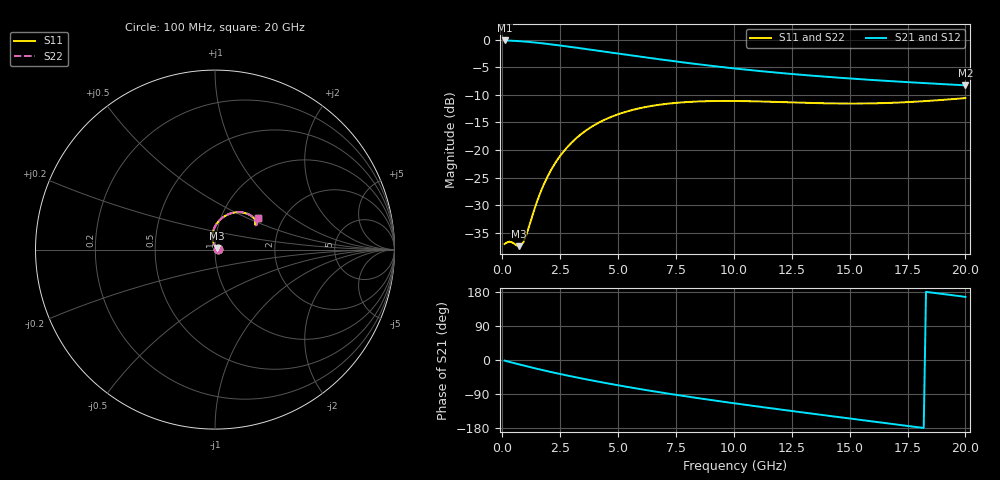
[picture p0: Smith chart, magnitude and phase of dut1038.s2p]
! Touchstone file exported from HFSS 2024.1.0
!  File:  C:/UserFiles/LocalFiles/RDL_TSV_Batchsim/temp_RDL_TSV_1038_1780085191.aedt
!  Generated:  04:18:42 AM May 30, 2026
!  Design:  RDL_TSV
!  Project:  temp_RDL_TSV_1038_1780085191
!  Setup:  Setup1
!  Solution:  Sweep
! Variables:
!  dtsv = 9.65um
!  hbump = 3um
!  htsv = 63.98um
!  ldown = 371.63um
!  lrdl = 439.86um
!  p = 40
!  p1 = 45.14um
!  rhole = 10um
!  subl = 2874.33um
!  t = 450um
!  tdown = 2.54um
!  trdl = 4.64um
!  viad = 10um
!  wdown = 27.99um
!  wrdl = 17.49um
!  xbump = 18um
# GHz S MA R 50.000000
! Terminal data exported
! Port[1] = TM1_1_T1
! Port[2] = TM1_4_T1
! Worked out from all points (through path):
!   200 points, 100 MHz to 20 GHz, reference 50 ohm
!   highest |S21| = -0.13 dB at 100 MHz (marker M1); lowest = -8.3 dB at 20 GHz (marker M2)
!   group delay of S21, straight-line fit = 25.5 ps
!   lowest |S11| = -37.4 dB at 700 MHz (marker M3), VSWR 1.03, Z = 51 + j0.943 ohm
!   |S11| at or under -10 dB: start of sweep to end of sweep
!   |S22| runs from -37.4 to -10.5 dB; largest |S21 - S12| = 1.5e-14
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0.1  0.01409 7.3  0.9856 -1.7  0.9856 -1.7  0.01409 7.3
! Gamma 0 0 0 0
! Port Impedance 50 0 50 0
0.3  0.01478 17.2  0.9825 -4.9  0.9825 -4.9  0.01477 17.2
0.7  0.01345 43.4  0.9725 -11.2  0.9725 -11.2  0.01344 43.5
0.8  0.01362 54.4  0.9693 -12.8  0.9693 -12.8  0.01361 54.5
0.9  0.01449 65.9  0.9659 -14.3  0.9659 -14.3  0.01449 66.0
1  0.01617 76.4  0.9622 -15.8  0.9622 -15.8  0.01618 76.6
1.6  0.03888 102.6  0.9353 -24.7  0.9353 -24.7  0.03895 102.7
1.8  0.04911 103.5  0.925 -27.5  0.925 -27.5  0.04921 103.6
2.1  0.06559 102.3  0.909 -31.6  0.909 -31.6  0.06573 102.3
2.7  0.1001 96.2  0.8756 -39.6  0.8756 -39.6  0.1004 96.3
3.5  0.1445 86.3  0.8306 -49.6  0.8306 -49.6  0.1449 86.3
4.2  0.1788 77.8  0.7922 -57.8  0.7922 -57.8  0.1792 77.9
4.9  0.2075 70.1  0.7552 -65.6  0.7552 -65.6  0.208 70.1
5.8  0.2361 61.3  0.7105 -75.2  0.7105 -75.2  0.2367 61.4
6.8  0.2579 53.1  0.6649 -85.2  0.6649 -85.2  0.2586 53.2
8.4  0.2755 43.0  0.6019 -100.1  0.6019 -100.1  0.2763 43.1
10.1  0.2785 35.8  0.5475 -114.9  0.5475 -114.9  0.2795 35.9
11.7  0.2738 32.0  0.5068 -128.1  0.5068 -128.1  0.2748 32.1
13.4  0.2671 30.7  0.4722 -141.8  0.4722 -141.8  0.2681 30.8
15  0.264 31.5  0.4458 -154.4  0.4458 -154.4  0.265 31.5
16.7  0.2676 33.5  0.4226 -167.7  0.4226 -167.7  0.2686 33.6
20  0.296 36.8  0.3864 166.6  0.3864 166.6  0.297 36.9
